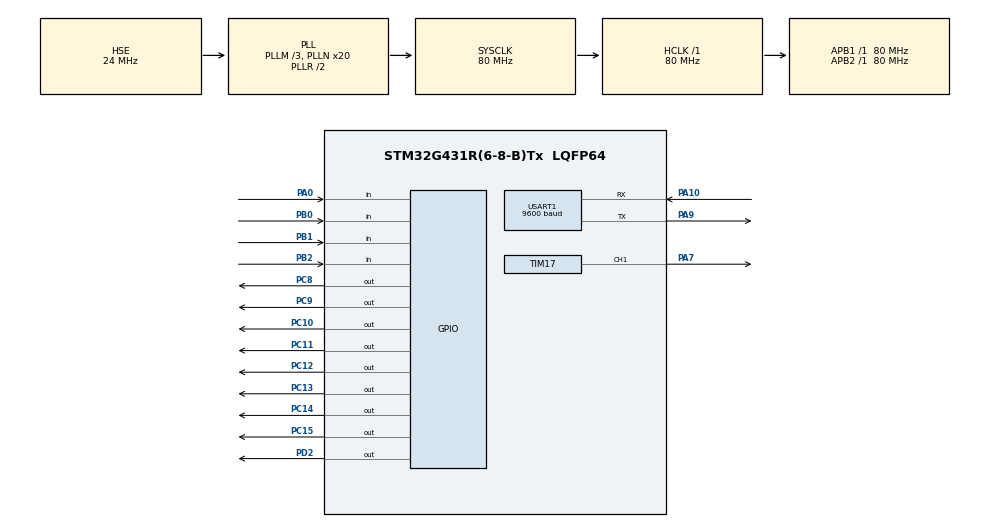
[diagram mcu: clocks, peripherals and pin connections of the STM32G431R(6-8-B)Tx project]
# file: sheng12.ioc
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Mcu.Family=STM32G4
Mcu.Name=STM32G431R(6-8-B)Tx
Mcu.Package=LQFP64
NVIC.PriorityGroup=NVIC_PRIORITYGROUP_4
NVIC.TIM3_IRQn=true\:0\:0\:false\:false\:true\:true\:true\:true
NVIC.USART1_IRQn=true\:0\:0\:false\:false\:true\:true\:true\:true
PA0.GPIO_Mode=GPIO_MODE_INPUT
PA0.GPIO_PuPd=GPIO_PULLUP
PA0.Signal=GPIO_Input
PA10.Mode=Asynchronous
PA10.Signal=USART1_RX
PA13.Mode=Serial_Wire
PA13.Signal=SYS_JTMS-SWDIO
PA14.Mode=Serial_Wire
PA14.Signal=SYS_JTCK-SWCLK
PA7.Signal=S_TIM17_CH1
PA9.Mode=Asynchronous
PA9.Signal=USART1_TX
PB0.GPIO_Mode=GPIO_MODE_INPUT
PB0.GPIO_PuPd=GPIO_PULLUP
PB0.Signal=GPIO_Input
PB1.GPIO_Mode=GPIO_MODE_INPUT
PB1.GPIO_PuPd=GPIO_PULLUP
PB1.Signal=GPIO_Input
PB2.GPIO_Mode=GPIO_MODE_INPUT
PB2.GPIO_PuPd=GPIO_PULLUP
PB2.Signal=GPIO_Input
PC10.GPIO_PuPd=GPIO_NOPULL
PC10.GPIO_Speed=GPIO_SPEED_FREQ_LOW
PC10.PinState=GPIO_PIN_SET
PC10.Signal=GPIO_Output
PC11.GPIO_PuPd=GPIO_NOPULL
PC11.GPIO_Speed=GPIO_SPEED_FREQ_LOW
PC11.PinState=GPIO_PIN_SET
PC11.Signal=GPIO_Output
PC12.GPIO_PuPd=GPIO_NOPULL
PC12.GPIO_Speed=GPIO_SPEED_FREQ_LOW
PC12.PinState=GPIO_PIN_SET
PC12.Signal=GPIO_Output
PC13.GPIO_PuPd=GPIO_NOPULL
PC13.GPIO_Speed=GPIO_SPEED_FREQ_LOW
PC13.PinState=GPIO_PIN_SET
PC13.Signal=GPIO_Output
PC14-OSC32_IN.GPIO_PuPd=GPIO_NOPULL
PC14-OSC32_IN.GPIO_Speed=GPIO_SPEED_FREQ_LOW
PC14-OSC32_IN.PinState=GPIO_PIN_SET
PC14-OSC32_IN.Signal=GPIO_Output
PC15-OSC32_OUT.GPIO_PuPd=GPIO_NOPULL
PC15-OSC32_OUT.GPIO_Speed=GPIO_SPEED_FREQ_LOW
PC15-OSC32_OUT.PinState=GPIO_PIN_SET
PC15-OSC32_OUT.Signal=GPIO_Output
PC8.GPIO_PuPd=GPIO_NOPULL
PC8.GPIO_Speed=GPIO_SPEED_FREQ_LOW
PC8.PinState=GPIO_PIN_SET
PC8.Signal=GPIO_Output
PC9.GPIO_PuPd=GPIO_NOPULL
PC9.GPIO_Speed=GPIO_SPEED_FREQ_LOW
PC9.PinState=GPIO_PIN_SET
PC9.Signal=GPIO_Output
PD2.Signal=GPIO_Output
PF0-OSC_IN.Mode=HSE-External-Oscillator
PF0-OSC_IN.Signal=RCC_OSC_IN
PF1-OSC_OUT.Mode=HSE-External-Oscillator
PF1-OSC_OUT.Signal=RCC_OSC_OUT
ProjectManager.HeapSize=0x200
ProjectManager.StackSize=0x400
ProjectManager.TargetToolchain=MDK-ARM V5.32
RCC.ADC12Freq_Value=80000000
RCC.AHBFreq_Value=80000000
RCC.APB1Freq_Value=80000000
RCC.APB1TimFreq_Value=80000000
RCC.APB2Freq_Value=80000000
RCC.APB2TimFreq_Value=80000000
RCC.CortexFreq_Value=80000000
RCC.EXTERNAL_CLOCK_VALUE=12288000
RCC.HCLKFreq_Value=80000000
RCC.HSE_VALUE=24000000
RCC.HSI48_VALUE=48000000
RCC.HSI_VALUE=16000000
RCC.LSE_VALUE=32768
RCC.PLLM=RCC_PLLM_DIV3
RCC.PLLN=20
RCC.PLLSourceVirtual=RCC_PLLSOURCE_HSE
RCC.SYSCLKFreq_VALUE=80000000
RCC.SYSCLKSource=RCC_SYSCLKSOURCE_PLLCLK
RCC.USBFreq_Value=80000000
RCC.VCOOutputFreq_Value=160000000
SH.S_TIM17_CH1.0=TIM17_CH1,PWM Generation1 CH1
TIM17.Channel=TIM_CHANNEL_1
TIM17.PeriodNoDither=100-1
TIM17.Prescaler=400-1
TIM17.PulseNoDither_1=20
TIM3.PeriodNoDither=10000-1
TIM3.Prescaler=80-1
USART1.BaudRate=9600
USART1.VirtualMode-Asynchronous=VM_ASYNC
VP_SYS_VS_DBSignals.Mode=DisableDeadBatterySignals
VP_TIM17_VS_ClockSourceINT.Mode=Enable_Timer
VP_TIM3_VS_ClockSourceINT.Mode=Internal
board=custom

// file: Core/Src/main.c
/* USER CODE BEGIN Header */
/**
  ******************************************************************************
  * @file           : main.c
  * @brief          : Main program body
  ******************************************************************************
  * @attention
  *
  * Copyright (c) 2024 STMicroelectronics.
  * All rights reserved.
  *
  * This software is licensed under terms that can be found in the LICENSE file
  * in the root directory of this software component.
  * If no LICENSE file comes with this software, it is provided AS-IS.
  *
  ******************************************************************************
  */
/* USER CODE END Header */
#include "main.h"
#include "tim.h"
#include "usart.h"
#include "gpio.h"

/* USER CODE BEGIN Includes */
#include "led.h"
#include "interrupt.h"
#include "stdio.h"
#include "lcd.h"
#include "string.h"
#include "calculation.h"
/* USER CODE END Includes */

/* USER CODE BEGIN PV */
extern struct keys key[];
extern char rx_data[30];
extern uint8_t rx_dat;
extern uchar rx_pointer;
bool view=0;

uint Cnum=0;
uint Vnum=0;

extern char car_type[5];
extern char car_data[5];
extern char car_time[13];
extern struct cars car[];
extern struct cars Car;
double Cprice=3.50;
double Vprice=2.00;
bool led1_flag=0;
bool error_flag=0;
/* USER CODE END PV */

void SystemClock_Config(void);

/* USER CODE BEGIN 0 */
void key_proc(void);
void lcd_proc(void);
void led_proc(void);
void uart_rx_proc(void);
void error_proc(void);

/* USER CODE END 0 */

int main(void)
{

  /* MCU Configuration--------------------------------------------------------*/

  /* Reset of all peripherals, Initializes the Flash interface and the Systick. */
  HAL_Init();

  /* Configure the system clock */
  SystemClock_Config();

  /* Initialize all configured peripherals */
  MX_GPIO_Init();
  MX_TIM3_Init();
  MX_TIM17_Init();
  MX_USART1_UART_Init();
  /* USER CODE BEGIN 2 */

	LED_Dsp(0x00);			//LED初始化
	LCD_Init();				//LCD初始化

	LCD_Clear(Black);
    LCD_SetBackColor(Black);
    LCD_SetTextColor(White);

	HAL_UART_Receive_IT(&huart1,&rx_dat,1);   //UART1初始化

	HAL_TIM_Base_Start_IT(&htim3);			//打开tim3
  /* USER CODE END 2 */

  /* Infinite loop */
  /* USER CODE BEGIN WHILE */
  while (1)
  {
	  lcd_proc();
	  key_proc();
	  led_proc();
	  if(rx_pointer!=0)
	  {
		  int temp=rx_pointer;
		  HAL_Delay(1);
		  if(temp==rx_pointer)uart_rx_proc();
	  }
	  error_proc();
    /* USER CODE END WHILE */

  }
}

void SystemClock_Config(void)
{
  RCC_OscInitTypeDef RCC_OscInitStruct = {0};
  RCC_ClkInitTypeDef RCC_ClkInitStruct = {0};

  /** Configure the main internal regulator output voltage
  */
  HAL_PWREx_ControlVoltageScaling(PWR_REGULATOR_VOLTAGE_SCALE1);

  /** Initializes the RCC Oscillators according to the specified parameters
  * in the RCC_OscInitTypeDef structure.
  */
  RCC_OscInitStruct.OscillatorType = RCC_OSCILLATORTYPE_HSE;
  RCC_OscInitStruct.HSEState = RCC_HSE_ON;
  RCC_OscInitStruct.PLL.PLLState = RCC_PLL_ON;
  RCC_OscInitStruct.PLL.PLLSource = RCC_PLLSOURCE_HSE;
  RCC_OscInitStruct.PLL.PLLM = RCC_PLLM_DIV3;
  RCC_OscInitStruct.PLL.PLLN = 20;
  RCC_OscInitStruct.PLL.PLLP = RCC_PLLP_DIV2;
  RCC_OscInitStruct.PLL.PLLQ = RCC_PLLQ_DIV2;
  RCC_OscInitStruct.PLL.PLLR = RCC_PLLR_DIV2;
  if (HAL_RCC_OscConfig(&RCC_OscInitStruct) != HAL_OK)
  {
    Error_Handler();
  }

  /** Initializes the CPU, AHB and APB buses clocks
  */
  RCC_ClkInitStruct.ClockType = RCC_CLOCKTYPE_HCLK|RCC_CLOCKTYPE_SYSCLK
                              |RCC_CLOCKTYPE_PCLK1|RCC_CLOCKTYPE_PCLK2;
  RCC_ClkInitStruct.SYSCLKSource = RCC_SYSCLKSOURCE_PLLCLK;
  RCC_ClkInitStruct.AHBCLKDivider = RCC_SYSCLK_DIV1;
  RCC_ClkInitStruct.APB1CLKDivider = RCC_HCLK_DIV1;
  RCC_ClkInitStruct.APB2CLKDivider = RCC_HCLK_DIV1;

  if (HAL_RCC_ClockConfig(&RCC_ClkInitStruct, FLASH_LATENCY_2) != HAL_OK)
  {
    Error_Handler();
  }
}

/* USER CODE BEGIN 4 */
void key_proc(void)
{

	if(key[0].singel_flag==1)
	{
		view=!view;
		LCD_Clear(Black);
	  char temp[20];							//串口发送测试
	  sprintf(temp,"CNBR: %d\r\n",Cnum);
	  HAL_UART_Transmit(&huart1,(uint8_t*)temp,strlen(temp),50);
		key[0].singel_flag=0;
	}
	if(key[1].singel_flag==1)
	{
		if(view!=0)
		{
			Cprice+=0.5;
			Vprice+=0.5;
		}
		key[1].singel_flag=0;
	}
	if(key[2].singel_flag==1)
	{
		if(view!=0)
		{
			Cprice-=0.5;
			Vprice-=0.5;

			if(Vprice<0)
			{
				Cprice=0;
				Vprice=0;
			}
		}
		key[2].singel_flag=0;
	}
	if(key[3].singel_flag==1)
	{
		led1_flag=!led1_flag;
		if(led1_flag==1)
		HAL_TIM_PWM_Start(&htim17,TIM_CHANNEL_1);
		else if(led1_flag==0)
		HAL_TIM_PWM_Stop(&htim17,TIM_CHANNEL_1);
		HAL_GPIO_WritePin(GPIOA,GPIO_PIN_7,GPIO_PIN_RESET);
		key[3].singel_flag=0;
	}
}
void lcd_proc(void)
{
	char text[30];
	if(view==0)						//车位显示界面
	{
		sprintf(text,"       Data");
	LCD_DisplayStringLine(Line1, (unsigned char *)text);
		sprintf(text,"   CNBR:%d",Cnum);
	LCD_DisplayStringLine(Line3, (unsigned char *)text);
		sprintf(text,"   VNBR:%d",Vnum);
	LCD_DisplayStringLine(Line5, (unsigned char *)text);
		sprintf(text,"   IDLE:%d",8-Cnum-Vnum);
	LCD_DisplayStringLine(Line7, (unsigned char *)text);
	}
	else if(view==1)				//费率界面
	{
		sprintf(text,"       Para");
	LCD_DisplayStringLine(Line1, (unsigned char *)text);
		sprintf(text,"   CNBR:%.2lf",Cprice);
	LCD_DisplayStringLine(Line3, (unsigned char *)text);
		sprintf(text,"   VNBR:%.2lf",Vprice);
	LCD_DisplayStringLine(Line5, (unsigned char *)text);
		sprintf(text,"   car:%s",car[0].car_data);
	LCD_DisplayStringLine(Line7, (unsigned char *)text);
	}

}

void led_proc(void)
{
	  if(8-Cnum-Vnum>0&&led1_flag)
		  LED_Dsp(0x03);
	  else if(8-Cnum-Vnum>0)
		  LED_Dsp(0x02);
	  else if(led1_flag)
		  LED_Dsp(0x01);
	  else if(8-Cnum-Vnum<=0&&led1_flag==0)
		  LED_Dsp(0x00);
}

void outCar()
{

	if(strcmp(Car.car_type,"CNBR")==0)
	{
		Cnum--;
	}
	else if(strcmp(Car.car_type,"VNBR")==0)
	{
		Vnum--;
	}

}

void inCar()
{
	for(int i=0;i<8;i++)
	{
		if(car[i].car_data[0] == '\0')
		{
			car[i]=Car;
			if(strcmp(car[i].car_type,"VNBR")==0)
			{
				Vnum++;
			}else if(strcmp(car[i].car_type,"CNBR")==0)
			{
				Cnum++;
			}
			break;
		}
	}
}

void uart_rx_proc(void)
{
	if(rx_pointer>0)
	{
		if(rx_pointer==22)
		{
			sscanf(rx_data,"%4s:%4s:%12s:",Car.car_type,Car.car_data,Car.car_time);
			if(strcmp(Car.car_type,"CNBR")==0||strcmp(Car.car_type,"VNBR")==0)
			{
				for(int i=0;i<8;i++)
				{
					if(strcmp(Car.car_data,car[i].car_data)==0)
					{
						if(strcmp(Car.car_type,car[i].car_type)==0)			//车库中已有需要出库
						{
							outCar();
							memset(&car[i],0,sizeof(car[i]));
							break;
						}
						else
						{
							error_flag=1;
						}
					}
					else if(strcmp(Car.car_data,car[i].car_data)!=0&&Cnum+Vnum<8)		//车库中没有需要入库
					{
						inCar();
						break;
					}
				}
			}
			else
			{
				error_flag=1;
			}
		}
		else
		{
			error_flag=1;
		}
		rx_pointer=0;
		memset(rx_data,0,30);
	}
}
void error_proc()
{
	if(error_flag==1)
	{
		char temp[20];							//串口发送错误
		sprintf(temp,"Error\r\n");
		HAL_UART_Transmit(&huart1,(uint8_t*)temp,strlen(temp),50);
	}
	error_flag=0;
}

/* USER CODE END 4 */

void Error_Handler(void)
{
  __disable_irq();
  while (1)
  {
  }
}
